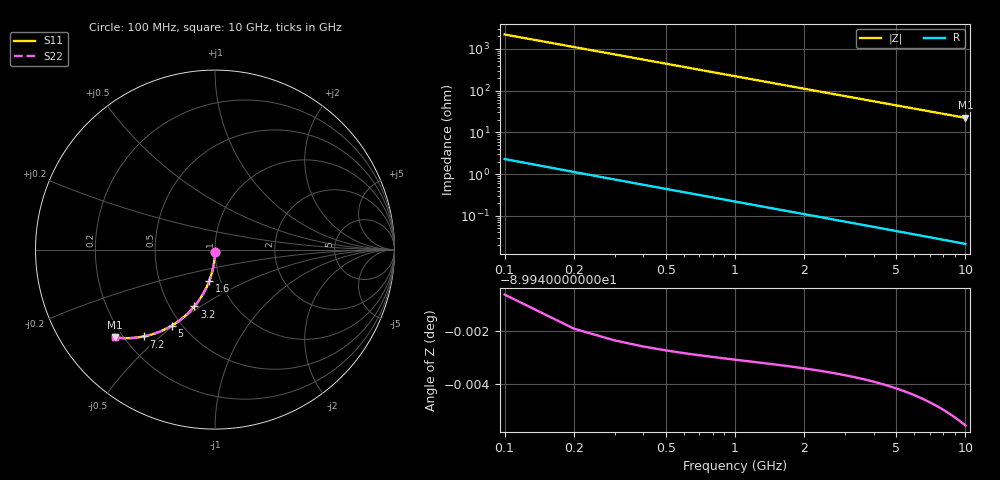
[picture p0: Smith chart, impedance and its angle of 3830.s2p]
# Hz S RI R 50.00
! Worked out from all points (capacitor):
!   100 points, 100 MHz to 10 GHz, reference 50 ohm
!   read as one part in shunt: C = 718 fF near 100 MHz
!   lowest |Z| = 22.3 ohm at 10 GHz (marker M1)
!   S11 on the Smith chart (normalised r, x): 100 MHz: 1.00, -0.02; 1.6 GHz: 0.89, -0.32; 3.2 GHz: 0.66, -0.47; 5 GHz: 0.44, -0.49; 7.2 GHz: 0.28, -0.44; 10 GHz: 0.17, -0.37
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1e8  -9.59e-05 -0.0112  0.9998 -0.0113  0.9998 -0.0113  -9.59e-05 -0.0112
2e8  -0.000488 -0.0224  0.9994 -0.0227  0.9994 -0.0227  -0.000488 -0.0224
3e8  -0.00113 -0.0336  0.9988 -0.034  0.9988 -0.034  -0.00113 -0.0336
4e8  -0.00203 -0.0447  0.9979 -0.0453  0.9979 -0.0453  -0.00203 -0.0447
5e8  -0.00318 -0.0558  0.9967 -0.0565  0.9967 -0.0565  -0.00318 -0.0558
6e8  -0.00458 -0.0669  0.9953 -0.0677  0.9953 -0.0677  -0.00458 -0.0669
7e8  -0.00622 -0.0779  0.9937 -0.0789  0.9937 -0.0789  -0.00622 -0.0779
9e8  -0.0102 -0.0998  0.9897 -0.101  0.9897 -0.101  -0.0102 -0.0998
1.2e9  -0.018 -0.132  0.9819 -0.1336  0.9819 -0.1336  -0.018 -0.132
1.6e9  -0.0316 -0.1735  0.9683 -0.1757  0.9683 -0.1757  -0.0316 -0.1735
1.8e9  -0.0397 -0.1935  0.9602 -0.196  0.9602 -0.196  -0.0397 -0.1935
2.4e9  -0.0683 -0.2503  0.9316 -0.2536  0.9316 -0.2536  -0.0683 -0.2503
2.8e9  -0.0907 -0.2849  0.9092 -0.2887  0.9092 -0.2887  -0.0907 -0.2849
3.2e9  -0.1153 -0.3167  0.8846 -0.3211  0.8846 -0.3211  -0.1153 -0.3167
3.4e9  -0.1282 -0.3316  0.8717 -0.3362  0.8717 -0.3362  -0.1282 -0.3316
4.2e9  -0.1832 -0.3835  0.8167 -0.3893  0.8167 -0.3893  -0.1832 -0.3835
5e9  -0.2411 -0.4239  0.7587 -0.4307  0.7587 -0.4307  -0.2411 -0.4239
5.1e9  -0.2485 -0.4282  0.7514 -0.4351  0.7514 -0.4351  -0.2485 -0.4282
6.7e9  -0.3632 -0.4758  0.6367 -0.485  0.6367 -0.485  -0.3632 -0.4758
7.2e9  -0.3971 -0.4838  0.6028 -0.4938  0.6028 -0.4938  -0.3971 -0.4838
8.4e9  -0.4726 -0.493  0.5272 -0.5045  0.5272 -0.5045  -0.4726 -0.493
1e10  -0.5595 -0.489  0.4403 -0.5028  0.4403 -0.5028  -0.5595 -0.489
